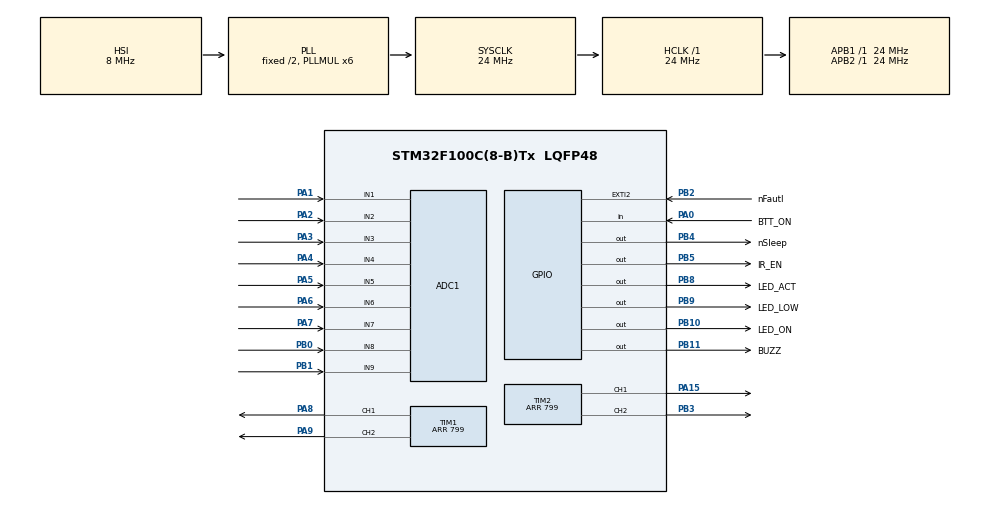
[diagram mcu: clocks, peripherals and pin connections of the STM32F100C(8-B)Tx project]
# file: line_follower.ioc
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ADC1.Channel-0\#ChannelRegularConversion=ADC_CHANNEL_1
ADC1.Channel-1\#ChannelRegularConversion=ADC_CHANNEL_2
ADC1.Channel-2\#ChannelRegularConversion=ADC_CHANNEL_3
ADC1.Channel-3\#ChannelRegularConversion=ADC_CHANNEL_4
ADC1.Channel-4\#ChannelRegularConversion=ADC_CHANNEL_5
ADC1.Channel-5\#ChannelRegularConversion=ADC_CHANNEL_6
ADC1.Channel-6\#ChannelRegularConversion=ADC_CHANNEL_7
ADC1.Channel-7\#ChannelRegularConversion=ADC_CHANNEL_8
ADC1.Channel-8\#ChannelRegularConversion=ADC_CHANNEL_9
ADC1.ContinuousConvMode=DISABLE
ADC1.DiscontinuousConvMode=DISABLE
ADC1.NbrOfConversion=9
ADC1.NbrOfConversionFlag=1
ADC1.Rank-0\#ChannelRegularConversion=1
ADC1.Rank-1\#ChannelRegularConversion=2
ADC1.Rank-2\#ChannelRegularConversion=3
ADC1.Rank-3\#ChannelRegularConversion=4
ADC1.Rank-4\#ChannelRegularConversion=5
ADC1.Rank-5\#ChannelRegularConversion=6
ADC1.Rank-6\#ChannelRegularConversion=7
ADC1.Rank-7\#ChannelRegularConversion=8
ADC1.Rank-8\#ChannelRegularConversion=9
ADC1.SamplingTime-0\#ChannelRegularConversion=ADC_SAMPLETIME_7CYCLES_5
ADC1.SamplingTime-1\#ChannelRegularConversion=ADC_SAMPLETIME_7CYCLES_5
ADC1.SamplingTime-2\#ChannelRegularConversion=ADC_SAMPLETIME_7CYCLES_5
ADC1.SamplingTime-3\#ChannelRegularConversion=ADC_SAMPLETIME_7CYCLES_5
ADC1.SamplingTime-4\#ChannelRegularConversion=ADC_SAMPLETIME_7CYCLES_5
ADC1.SamplingTime-5\#ChannelRegularConversion=ADC_SAMPLETIME_7CYCLES_5
ADC1.SamplingTime-6\#ChannelRegularConversion=ADC_SAMPLETIME_7CYCLES_5
ADC1.SamplingTime-7\#ChannelRegularConversion=ADC_SAMPLETIME_7CYCLES_5
ADC1.SamplingTime-8\#ChannelRegularConversion=ADC_SAMPLETIME_7CYCLES_5
ADC1.master=1
Dma.ADC1.0.Direction=DMA_PERIPH_TO_MEMORY
Dma.ADC1.0.Instance=DMA1_Channel1
Dma.ADC1.0.MemDataAlignment=DMA_MDATAALIGN_WORD
Dma.ADC1.0.MemInc=DMA_MINC_ENABLE
Dma.ADC1.0.Mode=DMA_CIRCULAR
Dma.ADC1.0.PeriphDataAlignment=DMA_PDATAALIGN_WORD
Dma.ADC1.0.PeriphInc=DMA_PINC_DISABLE
Dma.ADC1.0.Priority=DMA_PRIORITY_LOW
Dma.Request0=ADC1
Mcu.Family=STM32F1
Mcu.Name=STM32F100C(8-B)Tx
Mcu.Package=LQFP48
NVIC.ADC1_IRQn=true\:0\:0\:false\:false\:true\:true\:true\:true
NVIC.DMA1_Channel1_IRQn=true\:0\:0\:false\:false\:true\:false\:true\:true
NVIC.PriorityGroup=NVIC_PRIORITYGROUP_4
PA0-WKUP.GPIO_Label=BTT_ON
PA0-WKUP.Signal=GPIO_Input
PA1.Signal=ADCx_IN1
PA13.Mode=Serial_Wire
PA13.Signal=SYS_JTMS-SWDIO
PA14.Mode=Serial_Wire
PA14.Signal=SYS_JTCK-SWCLK
PA15.Signal=S_TIM2_CH1_ETR
PA2.Signal=ADCx_IN2
PA3.Signal=ADCx_IN3
PA4.Signal=ADCx_IN4
PA5.Signal=ADCx_IN5
PA6.Signal=ADCx_IN6
PA7.Signal=ADCx_IN7
PA8.Signal=S_TIM1_CH1
PA9.Signal=S_TIM1_CH2
PB0.Signal=ADCx_IN8
PB1.Signal=ADCx_IN9
PB10.GPIO_Label=LED_ON
PB10.Signal=GPIO_Output
PB11.GPIO_Label=BUZZ
PB11.Signal=GPIO_Output
PB2.GPIO_Label=nFautl
PB2.Signal=GPXTI2
PB3.Signal=S_TIM2_CH2
PB4.GPIO_Label=nSleep
PB4.Signal=GPIO_Output
PB5.GPIO_Label=IR_EN
PB5.Signal=GPIO_Output
PB8.GPIO_Label=LED_ACT
PB8.Signal=GPIO_Output
PB9.GPIO_Label=LED_LOW
PB9.Signal=GPIO_Output
ProjectManager.HeapSize=0x200
ProjectManager.StackSize=0x400
ProjectManager.TargetToolchain=Makefile
RCC.AHBFreq_Value=24000000
RCC.APB1Freq_Value=24000000
RCC.APB1TimFreq_Value=24000000
RCC.APB2Freq_Value=24000000
RCC.APB2TimFreq_Value=24000000
RCC.HCLKFreq_Value=24000000
RCC.PLLMUL=RCC_PLL_MUL6
RCC.SYSCLKFreq_VALUE=24000000
RCC.SYSCLKSource=RCC_SYSCLKSOURCE_PLLCLK
SH.ADCx_IN1.0=ADC1_IN1,IN1
SH.ADCx_IN2.0=ADC1_IN2,IN2
SH.ADCx_IN3.0=ADC1_IN3,IN3
SH.ADCx_IN4.0=ADC1_IN4,IN4
SH.ADCx_IN5.0=ADC1_IN5,IN5
SH.ADCx_IN6.0=ADC1_IN6,IN6
SH.ADCx_IN7.0=ADC1_IN7,IN7
SH.ADCx_IN8.0=ADC1_IN8,IN8
SH.ADCx_IN9.0=ADC1_IN9,IN9
SH.S_TIM1_CH1.0=TIM1_CH1,PWM Generation1 CH1
SH.S_TIM1_CH2.0=TIM1_CH2,PWM Generation2 CH2
SH.S_TIM2_CH1_ETR.0=TIM2_CH1,PWM Generation1 CH1
SH.S_TIM2_CH2.0=TIM2_CH2,PWM Generation2 CH2
TIM1.Channel-PWM\ Generation1\ CH1=TIM_CHANNEL_1
TIM1.Channel-PWM\ Generation2\ CH2=TIM_CHANNEL_2
TIM1.Period=799
TIM2.Channel-PWM\ Generation1\ CH1=TIM_CHANNEL_1
TIM2.Channel-PWM\ Generation2\ CH2=TIM_CHANNEL_2
TIM2.Period=799
VP_TIM1_VS_ClockSourceINT.Mode=Internal
VP_TIM2_VS_ClockSourceINT.Mode=Internal
board=custom

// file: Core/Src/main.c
/* USER CODE BEGIN Header */
/**
  ******************************************************************************
  * @file           : main.c
  * @brief          : Main program body
  ******************************************************************************
  * @attention
  *
  * Copyright (c) 2025 STMicroelectronics.
  * All rights reserved.
  *
  * This software is licensed under terms that can be found in the LICENSE file
  * in the root directory of this software component.
  * If no LICENSE file comes with this software, it is provided AS-IS.
  *
  ******************************************************************************
  */
/* USER CODE END Header */
#include "main.h"

/* USER CODE BEGIN Includes */
#include "motor.h"
#include "math.h"
#include "stdlib.h"
/* USER CODE END Includes */

/* USER CODE BEGIN PD */
#define MAX_SPEED   700
const uint16_t WHITE[8] = {3057, 2769, 2764, 3069, 2887, 3000, 2950, 3020};
const uint16_t BLACK[8] = {3888, 3913, 3892, 3904, 3907, 3913, 3916, 3920};
/* USER CODE END PD */

ADC_HandleTypeDef hadc1;
DMA_HandleTypeDef hdma_adc1;

TIM_HandleTypeDef htim1;
TIM_HandleTypeDef htim2;

/* USER CODE BEGIN PV */
uint32_t adc_buffer[9];

float Kp = 0.5;
float Ki = 0.1;
float Kd = 0;

uint8_t multiP = 1;
uint8_t multiI  = 1;
uint8_t multiD = 1;
uint8_t Kpfinal;
uint8_t Kifinal;
uint8_t Kdfinal;
float Pvalue;
float Ivalue;
float Dvalue;

uint32_t dt;
uint32_t t0;

uint16_t position;
int P, D, I, previousError, PIDvalue, error;
int lsp, rsp;
int lfspeed = MAX_SPEED*0.7;

bool adc_done_flag = false;
/* USER CODE END PV */

void SystemClock_Config(void);
static void MX_GPIO_Init(void);
static void MX_DMA_Init(void);
static void MX_ADC1_Init(void);
static void MX_TIM1_Init(void);
static void MX_TIM2_Init(void);
/* USER CODE BEGIN PFP */
void Enter_Sleep(void);
void PID_Linefollow(int32_t error);
uint32_t Read_Line(void);
void Robot_Control(void);
uint16_t Normalize_Sensors(uint16_t raw, uint8_t i);
uint8_t Get_Line(void);
/* USER CODE END PFP */

int main(void)
{

  /* MCU Configuration--------------------------------------------------------*/

  /* Reset of all peripherals, Initializes the Flash interface and the Systick. */
  HAL_Init();

  /* Configure the system clock */
  SystemClock_Config();

  /* Initialize all configured peripherals */
  MX_GPIO_Init();
  MX_DMA_Init();
  MX_ADC1_Init();
  MX_TIM1_Init();
  MX_TIM2_Init();
  /* USER CODE BEGIN 2 */
  HAL_GPIO_WritePin(BUZZ_GPIO_Port, BUZZ_Pin, GPIO_PIN_SET);
  HAL_Delay(300);
  HAL_GPIO_WritePin(BUZZ_GPIO_Port, BUZZ_Pin, GPIO_PIN_RESET);
  HAL_GPIO_WritePin(LED_ON_GPIO_Port, LED_ON_Pin, GPIO_PIN_SET);
  HAL_GPIO_WritePin(IR_EN_GPIO_Port, IR_EN_Pin, GPIO_PIN_SET);

  HAL_ADC_Start_DMA(&hadc1, adc_buffer, 9);

  M_Init();
  //M_SetSpeed(500, 500, FORWARD, FORWARD);
  // M_Disable();
  // Enter_Sleep();
  while(!HAL_GPIO_ReadPin(BTT_ON_GPIO_Port, BTT_ON_Pin));

  HAL_GPIO_WritePin(BUZZ_GPIO_Port, BUZZ_Pin, GPIO_PIN_SET);
  HAL_Delay(300);
  HAL_GPIO_WritePin(BUZZ_GPIO_Port, BUZZ_Pin, GPIO_PIN_RESET);

  HAL_Delay(500);

  HAL_GPIO_WritePin(BUZZ_GPIO_Port, BUZZ_Pin, GPIO_PIN_SET);
  HAL_Delay(200);
  HAL_GPIO_WritePin(BUZZ_GPIO_Port, BUZZ_Pin, GPIO_PIN_RESET);

  HAL_Delay(500);

  HAL_GPIO_WritePin(BUZZ_GPIO_Port, BUZZ_Pin, GPIO_PIN_SET);
  HAL_Delay(100);
  HAL_GPIO_WritePin(BUZZ_GPIO_Port, BUZZ_Pin, GPIO_PIN_RESET);

  HAL_Delay(400);
  /* USER CODE END 2 */

  /* Infinite loop */
  /* USER CODE BEGIN WHILE */
  while (1)
  {
    if(adc_done_flag){
      adc_done_flag = false;
      Robot_Control();
      HAL_ADC_Start_DMA(&hadc1, adc_buffer, 9);
      if(Get_Line() == 0 || Get_Line() == 255){
        HAL_GPIO_WritePin(LED_ACT_GPIO_Port, LED_ACT_Pin, GPIO_PIN_SET);
      }else{
        HAL_GPIO_WritePin(LED_ACT_GPIO_Port, LED_ACT_Pin, GPIO_PIN_RESET);
      }
    }

    if(HAL_GPIO_ReadPin(BTT_ON_GPIO_Port, BTT_ON_Pin)){
      M_Disable();
      HAL_GPIO_WritePin(LED_ON_GPIO_Port, LED_ON_Pin, GPIO_PIN_RESET);
      HAL_GPIO_WritePin(IR_EN_GPIO_Port, IR_EN_Pin, GPIO_PIN_RESET);
      HAL_NVIC_SystemReset();
      break;
    }

  //   for(;;){
  //   for (uint16_t i = 0; i < 800; i++){
  //     M_SetSpeed(i, i, FORWARD, FORWARD);
  //     HAL_GPIO_TogglePin(LED_ACT_GPIO_Port, LED_ACT_Pin);
  //     HAL_Delay(10);
  //   }
  //   HAL_Delay(1000);
  //   for (uint16_t i = 799; i > 0; i--){
  //     M_SetSpeed(i, i, FORWARD, FORWARD);
  //     HAL_GPIO_TogglePin(LED_ACT_GPIO_Port, LED_ACT_Pin);
  //     HAL_Delay(10);
  //   }

  //   for (uint16_t i = 0; i < 800; i++){
  //     M_SetSpeed(i, i, BACKWARD, BACKWARD);
  //     HAL_GPIO_TogglePin(LED_ACT_GPIO_Port, LED_ACT_Pin);
  //     HAL_Delay(10);
  //   }
  //   HAL_Delay(1000);
  //   for (uint16_t i = 799; i > 0; i--){
  //     M_SetSpeed(i, i, BACKWARD, BACKWARD);
  //     HAL_GPIO_TogglePin(LED_ACT_GPIO_Port, LED_ACT_Pin);
  //     HAL_Delay(10);
  //   }
  //   HAL_Delay(1000);
  // }
    /* USER CODE END WHILE */

  }
}

void SystemClock_Config(void)
{
  RCC_OscInitTypeDef RCC_OscInitStruct = {0};
  RCC_ClkInitTypeDef RCC_ClkInitStruct = {0};
  RCC_PeriphCLKInitTypeDef PeriphClkInit = {0};

  /** Initializes the RCC Oscillators according to the specified parameters
  * in the RCC_OscInitTypeDef structure.
  */
  RCC_OscInitStruct.OscillatorType = RCC_OSCILLATORTYPE_HSI;
  RCC_OscInitStruct.HSIState = RCC_HSI_ON;
  RCC_OscInitStruct.HSICalibrationValue = RCC_HSICALIBRATION_DEFAULT;
  RCC_OscInitStruct.PLL.PLLState = RCC_PLL_ON;
  RCC_OscInitStruct.PLL.PLLSource = RCC_PLLSOURCE_HSI_DIV2;
  RCC_OscInitStruct.PLL.PLLMUL = RCC_PLL_MUL6;
  if (HAL_RCC_OscConfig(&RCC_OscInitStruct) != HAL_OK)
  {
    Error_Handler();
  }

  /** Initializes the CPU, AHB and APB buses clocks
  */
  RCC_ClkInitStruct.ClockType = RCC_CLOCKTYPE_HCLK|RCC_CLOCKTYPE_SYSCLK
                              |RCC_CLOCKTYPE_PCLK1|RCC_CLOCKTYPE_PCLK2;
  RCC_ClkInitStruct.SYSCLKSource = RCC_SYSCLKSOURCE_PLLCLK;
  RCC_ClkInitStruct.AHBCLKDivider = RCC_SYSCLK_DIV1;
  RCC_ClkInitStruct.APB1CLKDivider = RCC_HCLK_DIV1;
  RCC_ClkInitStruct.APB2CLKDivider = RCC_HCLK_DIV1;

  if (HAL_RCC_ClockConfig(&RCC_ClkInitStruct, FLASH_LATENCY_0) != HAL_OK)
  {
    Error_Handler();
  }
  PeriphClkInit.PeriphClockSelection = RCC_PERIPHCLK_ADC;
  PeriphClkInit.AdcClockSelection = RCC_ADCPCLK2_DIV2;
  if (HAL_RCCEx_PeriphCLKConfig(&PeriphClkInit) != HAL_OK)
  {
    Error_Handler();
  }
}

static void MX_ADC1_Init(void)
{

  ADC_ChannelConfTypeDef sConfig = {0};

  /** Common config
  */
  hadc1.Instance = ADC1;
  hadc1.Init.ScanConvMode = ADC_SCAN_ENABLE;
  hadc1.Init.ContinuousConvMode = DISABLE;
  hadc1.Init.DiscontinuousConvMode = DISABLE;
  hadc1.Init.ExternalTrigConv = ADC_SOFTWARE_START;
  hadc1.Init.DataAlign = ADC_DATAALIGN_RIGHT;
  hadc1.Init.NbrOfConversion = 9;
  if (HAL_ADC_Init(&hadc1) != HAL_OK)
  {
    Error_Handler();
  }

  /** Configure Regular Channel
  */
  sConfig.Channel = ADC_CHANNEL_1;
  sConfig.Rank = ADC_REGULAR_RANK_1;
  sConfig.SamplingTime = ADC_SAMPLETIME_7CYCLES_5;
  if (HAL_ADC_ConfigChannel(&hadc1, &sConfig) != HAL_OK)
  {
    Error_Handler();
  }

  /** Configure Regular Channel
  */
  sConfig.Channel = ADC_CHANNEL_2;
  sConfig.Rank = ADC_REGULAR_RANK_2;
  if (HAL_ADC_ConfigChannel(&hadc1, &sConfig) != HAL_OK)
  {
    Error_Handler();
  }

  /** Configure Regular Channel
  */
  sConfig.Channel = ADC_CHANNEL_3;
  sConfig.Rank = ADC_REGULAR_RANK_3;
  if (HAL_ADC_ConfigChannel(&hadc1, &sConfig) != HAL_OK)
  {
    Error_Handler();
  }

  /** Configure Regular Channel
  */
  sConfig.Channel = ADC_CHANNEL_4;
  sConfig.Rank = ADC_REGULAR_RANK_4;
  if (HAL_ADC_ConfigChannel(&hadc1, &sConfig) != HAL_OK)
  {
    Error_Handler();
  }

  /** Configure Regular Channel
  */
  sConfig.Channel = ADC_CHANNEL_5;
  sConfig.Rank = ADC_REGULAR_RANK_5;
  if (HAL_ADC_ConfigChannel(&hadc1, &sConfig) != HAL_OK)
  {
    Error_Handler();
  }

  /** Configure Regular Channel
  */
  sConfig.Channel = ADC_CHANNEL_6;
  sConfig.Rank = ADC_REGULAR_RANK_6;
  if (HAL_ADC_ConfigChannel(&hadc1, &sConfig) != HAL_OK)
  {
    Error_Handler();
  }

  /** Configure Regular Channel
  */
  sConfig.Channel = ADC_CHANNEL_7;
  sConfig.Rank = ADC_REGULAR_RANK_7;
  if (HAL_ADC_ConfigChannel(&hadc1, &sConfig) != HAL_OK)
  {
    Error_Handler();
  }

  /** Configure Regular Channel
  */
  sConfig.Channel = ADC_CHANNEL_8;
  sConfig.Rank = ADC_REGULAR_RANK_8;
  if (HAL_ADC_ConfigChannel(&hadc1, &sConfig) != HAL_OK)
  {
    Error_Handler();
  }

  /** Configure Regular Channel
  */
  sConfig.Channel = ADC_CHANNEL_9;
  sConfig.Rank = ADC_REGULAR_RANK_9;
  if (HAL_ADC_ConfigChannel(&hadc1, &sConfig) != HAL_OK)
  {
    Error_Handler();
  }

}

static void MX_TIM1_Init(void)
{

  TIM_ClockConfigTypeDef sClockSourceConfig = {0};
  TIM_MasterConfigTypeDef sMasterConfig = {0};
  TIM_OC_InitTypeDef sConfigOC = {0};
  TIM_BreakDeadTimeConfigTypeDef sBreakDeadTimeConfig = {0};

  htim1.Instance = TIM1;
  htim1.Init.Prescaler = 0;
  htim1.Init.CounterMode = TIM_COUNTERMODE_UP;
  htim1.Init.Period = 799;
  htim1.Init.ClockDivision = TIM_CLOCKDIVISION_DIV1;
  htim1.Init.RepetitionCounter = 0;
  htim1.Init.AutoReloadPreload = TIM_AUTORELOAD_PRELOAD_DISABLE;
  if (HAL_TIM_Base_Init(&htim1) != HAL_OK)
  {
    Error_Handler();
  }
  sClockSourceConfig.ClockSource = TIM_CLOCKSOURCE_INTERNAL;
  if (HAL_TIM_ConfigClockSource(&htim1, &sClockSourceConfig) != HAL_OK)
  {
    Error_Handler();
  }
  if (HAL_TIM_PWM_Init(&htim1) != HAL_OK)
  {
    Error_Handler();
  }
  sMasterConfig.MasterOutputTrigger = TIM_TRGO_RESET;
  sMasterConfig.MasterSlaveMode = TIM_MASTERSLAVEMODE_DISABLE;
  if (HAL_TIMEx_MasterConfigSynchronization(&htim1, &sMasterConfig) != HAL_OK)
  {
    Error_Handler();
  }
  sConfigOC.OCMode = TIM_OCMODE_PWM1;
  sConfigOC.Pulse = 0;
  sConfigOC.OCPolarity = TIM_OCPOLARITY_HIGH;
  sConfigOC.OCNPolarity = TIM_OCNPOLARITY_HIGH;
  sConfigOC.OCFastMode = TIM_OCFAST_DISABLE;
  sConfigOC.OCIdleState = TIM_OCIDLESTATE_RESET;
  sConfigOC.OCNIdleState = TIM_OCNIDLESTATE_RESET;
  if (HAL_TIM_PWM_ConfigChannel(&htim1, &sConfigOC, TIM_CHANNEL_1) != HAL_OK)
  {
    Error_Handler();
  }
  if (HAL_TIM_PWM_ConfigChannel(&htim1, &sConfigOC, TIM_CHANNEL_2) != HAL_OK)
  {
    Error_Handler();
  }
  sBreakDeadTimeConfig.OffStateRunMode = TIM_OSSR_DISABLE;
  sBreakDeadTimeConfig.OffStateIDLEMode = TIM_OSSI_DISABLE;
  sBreakDeadTimeConfig.LockLevel = TIM_LOCKLEVEL_OFF;
  sBreakDeadTimeConfig.DeadTime = 0;
  sBreakDeadTimeConfig.BreakState = TIM_BREAK_DISABLE;
  sBreakDeadTimeConfig.BreakPolarity = TIM_BREAKPOLARITY_HIGH;
  sBreakDeadTimeConfig.AutomaticOutput = TIM_AUTOMATICOUTPUT_DISABLE;
  if (HAL_TIMEx_ConfigBreakDeadTime(&htim1, &sBreakDeadTimeConfig) != HAL_OK)
  {
    Error_Handler();
  }
  HAL_TIM_MspPostInit(&htim1);

}

static void MX_TIM2_Init(void)
{

  TIM_ClockConfigTypeDef sClockSourceConfig = {0};
  TIM_MasterConfigTypeDef sMasterConfig = {0};
  TIM_OC_InitTypeDef sConfigOC = {0};

  htim2.Instance = TIM2;
  htim2.Init.Prescaler = 0;
  htim2.Init.CounterMode = TIM_COUNTERMODE_UP;
  htim2.Init.Period = 799;
  htim2.Init.ClockDivision = TIM_CLOCKDIVISION_DIV1;
  htim2.Init.AutoReloadPreload = TIM_AUTORELOAD_PRELOAD_DISABLE;
  if (HAL_TIM_Base_Init(&htim2) != HAL_OK)
  {
    Error_Handler();
  }
  sClockSourceConfig.ClockSource = TIM_CLOCKSOURCE_INTERNAL;
  if (HAL_TIM_ConfigClockSource(&htim2, &sClockSourceConfig) != HAL_OK)
  {
    Error_Handler();
  }
  if (HAL_TIM_PWM_Init(&htim2) != HAL_OK)
  {
    Error_Handler();
  }
  sMasterConfig.MasterOutputTrigger = TIM_TRGO_RESET;
  sMasterConfig.MasterSlaveMode = TIM_MASTERSLAVEMODE_DISABLE;
  if (HAL_TIMEx_MasterConfigSynchronization(&htim2, &sMasterConfig) != HAL_OK)
  {
    Error_Handler();
  }
  sConfigOC.OCMode = TIM_OCMODE_PWM1;
  sConfigOC.Pulse = 0;
  sConfigOC.OCPolarity = TIM_OCPOLARITY_HIGH;
  sConfigOC.OCFastMode = TIM_OCFAST_DISABLE;
  if (HAL_TIM_PWM_ConfigChannel(&htim2, &sConfigOC, TIM_CHANNEL_1) != HAL_OK)
  {
    Error_Handler();
  }
  if (HAL_TIM_PWM_ConfigChannel(&htim2, &sConfigOC, TIM_CHANNEL_2) != HAL_OK)
  {
    Error_Handler();
  }
  HAL_TIM_MspPostInit(&htim2);

}

static void MX_DMA_Init(void)
{

  /* DMA controller clock enable */
  __HAL_RCC_DMA1_CLK_ENABLE();

  /* DMA interrupt init */
  /* DMA1_Channel1_IRQn interrupt configuration */
  HAL_NVIC_SetPriority(DMA1_Channel1_IRQn, 0, 0);
  HAL_NVIC_EnableIRQ(DMA1_Channel1_IRQn);

}

static void MX_GPIO_Init(void)
{
  GPIO_InitTypeDef GPIO_InitStruct = {0};

  /* GPIO Ports Clock Enable */
  __HAL_RCC_GPIOA_CLK_ENABLE();
  __HAL_RCC_GPIOB_CLK_ENABLE();

  /*Configure GPIO pin Output Level */
  HAL_GPIO_WritePin(GPIOB, LED_ON_Pin|BUZZ_Pin|nSleep_Pin|IR_EN_Pin
                          |LED_ACT_Pin|LED_LOW_Pin, GPIO_PIN_RESET);

  /*Configure GPIO pin : BTT_ON_Pin */
  GPIO_InitStruct.Pin = BTT_ON_Pin;
  GPIO_InitStruct.Mode = GPIO_MODE_INPUT;
  GPIO_InitStruct.Pull = GPIO_NOPULL;
  HAL_GPIO_Init(BTT_ON_GPIO_Port, &GPIO_InitStruct);

  /*Configure GPIO pin : nFautl_Pin */
  GPIO_InitStruct.Pin = nFautl_Pin;
  GPIO_InitStruct.Mode = GPIO_MODE_IT_RISING;
  GPIO_InitStruct.Pull = GPIO_NOPULL;
  HAL_GPIO_Init(nFautl_GPIO_Port, &GPIO_InitStruct);

  /*Configure GPIO pins : LED_ON_Pin BUZZ_Pin nSleep_Pin IR_EN_Pin
                           LED_ACT_Pin LED_LOW_Pin */
  GPIO_InitStruct.Pin = LED_ON_Pin|BUZZ_Pin|nSleep_Pin|IR_EN_Pin
                          |LED_ACT_Pin|LED_LOW_Pin;
  GPIO_InitStruct.Mode = GPIO_MODE_OUTPUT_PP;
  GPIO_InitStruct.Pull = GPIO_NOPULL;
  GPIO_InitStruct.Speed = GPIO_SPEED_FREQ_LOW;
  HAL_GPIO_Init(GPIOB, &GPIO_InitStruct);

}

/* USER CODE BEGIN 4 */
void HAL_ADC_ConvCpltCallback(ADC_HandleTypeDef *hadc)
{
  if(hadc->Instance == ADC1){
    adc_done_flag = true;
    float voltage = adc_buffer[0] * 3.3 / 4095;
    if(voltage < (5.4 / 4)){
      HAL_GPIO_WritePin(LED_LOW_GPIO_Port, LED_LOW_Pin, GPIO_PIN_SET);
    }else{
      HAL_GPIO_WritePin(LED_LOW_GPIO_Port, LED_LOW_Pin, GPIO_PIN_RESET);
    }
  }
}

// void HAL_GPIO_EXTI_Callback(uint16_t GPIO_Pin)
// {
//   if(GPIO_Pin == GPIO_PIN_0) {
//     HAL_GPIO_WritePin(GPIOA, GPIO_PIN_5, GPIO_PIN_SET);
//   } else {
//       __NOP();
//   }
// }

void Enter_Sleep(void){
  HAL_GPIO_WritePin(IR_EN_GPIO_Port, IR_EN_Pin, GPIO_PIN_RESET);
  M_Disable();
  HAL_GPIO_WritePin(LED_ACT_GPIO_Port, LED_ACT_Pin, GPIO_PIN_RESET);
  HAL_GPIO_WritePin(LED_ON_GPIO_Port, LED_ON_Pin, GPIO_PIN_RESET);
  HAL_GPIO_WritePin(LED_LOW_GPIO_Port, LED_LOW_Pin, GPIO_PIN_RESET);
}

void Robot_Control(void){

  position = Read_Line();
  error = 3500 - position;
  while(Get_Line() == 0){
    if(previousError<0){
      M_SetSpeed(0.4*MAX_SPEED, 0.7*MAX_SPEED, BACKWARD, FORWARD);
    }
    else{
      M_SetSpeed(0.7*MAX_SPEED, 0.4*MAX_SPEED, FORWARD, BACKWARD);
    }
    adc_done_flag = false;
    HAL_ADC_Start_DMA(&hadc1, adc_buffer, 9);
    while(!adc_done_flag);

    position = Read_Line();
  }

  PID_Linefollow(error);
}

uint8_t Get_Line(void){
  uint8_t out = 0;
  for (uint8_t i = 0; i < 8; i++){
    if(adc_buffer[i+1] > (BLACK[i] - (BLACK[i]-WHITE[i])*0.5)){
      out = out | (1 << i);
    }
  }
  return out;
}

uint32_t Read_Line(void){
    uint32_t avg = 0;
    uint32_t sum = 0;

    for (uint8_t i = 0; i < 8; i++) {
        uint16_t value = Normalize_Sensors(adc_buffer[i+1], i);  // ADC value for sensor i
        avg += (uint32_t)value * (i * 1000);

        sum += value;
    }

    if (sum == 0) return 0;  // no line detected
    return avg / sum;        // 0 … 7000
}

void PID_Linefollow(int32_t error){
    P = error;
    I = I + error*((HAL_GetTick()-t0)/1000);
    D = error - previousError;

    if (position >= 3500) I = 0;

    t0 = HAL_GetTick();

    Pvalue = (Kp/pow(10,multiP))*P;
    Ivalue = (Ki/pow(10,multiI))*I;
    Dvalue = (Kd/pow(10,multiD))*D;

    float PIDvalue = Pvalue + Ivalue + Dvalue;
    previousError = error;

    lsp = lfspeed - PIDvalue;
    rsp = lfspeed + PIDvalue;

    if (lsp > MAX_SPEED) {
      lsp = MAX_SPEED;
    }
    if (lsp < -MAX_SPEED) {
      lsp = -MAX_SPEED;
    }

    if (rsp > MAX_SPEED) {
      rsp = MAX_SPEED;
    }
    if (rsp < -MAX_SPEED) {
      rsp = -MAX_SPEED;
    }

    bool dir_a, dir_b;
    dir_a = rsp > 0 ? FORWARD : BACKWARD;
    dir_b = lsp > 0 ? FORWARD : BACKWARD;

    M_SetSpeed(abs(rsp), abs(lsp), dir_a, dir_b);
}

uint16_t Normalize_Sensors(uint16_t raw, uint8_t i) {
    if (BLACK[i] == WHITE[i]) return 0; // avoid div by 0

    int32_t val = ((int32_t)(raw - WHITE[i]) * 1000) / (BLACK[i] - WHITE[i]);

    if (val < 0) val = 0;
    if (val > 1000) val = 1000;

    return (uint16_t)val;
}
/* USER CODE END 4 */

void Error_Handler(void)
{
  __disable_irq();
  while (1)
  {
  }
}
